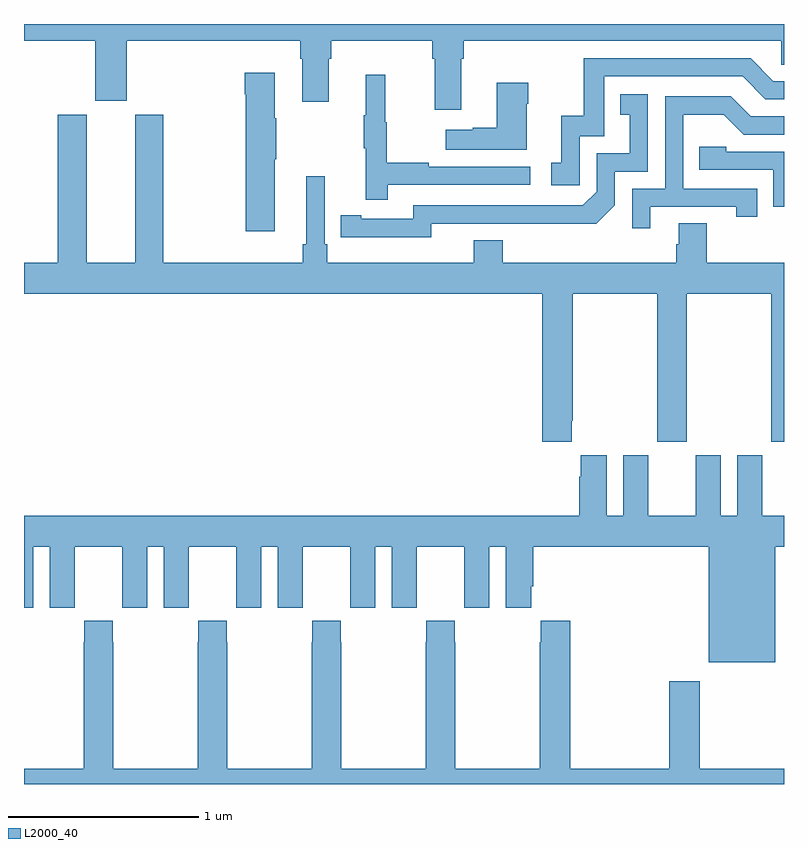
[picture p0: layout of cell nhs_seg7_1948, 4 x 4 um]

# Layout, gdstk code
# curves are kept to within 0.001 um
import gdstk
lib = gdstk.Library(unit=1e-6, precision=1e-09)
def P(c, l, *ps):  # polygons
    for p in ps: c.add(gdstk.Polygon(p, *l))
L2000_40 = (2000, 40)

nhs_seg7_1948 = lib.new_cell('nhs_seg7_1948')
P(nhs_seg7_1948, L2000_40, [(241,1037.912),(241.376,1037.912),(241.376,1037.595),(241.54,1037.595),(241.54,1037.912),(242.453,1037.912),(242.453,1037.816),(242.465,1037.816),(242.465,1037.592),(242.605,1037.592),(242.605,1037.816),(242.618,1037.816),(242.618,1037.912),(243.149,1037.912),(243.149,1037.816),(243.161,1037.816),(243.161,1037.55),(243.301,1037.55),(243.301,1037.816),(243.314,1037.816),(243.314,1037.912),(244.986,1037.912),(244.986,1037.785),(245,1037.785),(245,1038),(241,1038)],
  [(243.924,1037.409),(244.053,1037.409),(244.053,1037.724),(244.782,1037.724),(244.902,1037.604),(245,1037.604),(245,1037.7),(244.944,1037.7),(244.824,1037.82),(243.945,1037.82),(243.945,1037.518),(243.827,1037.518),(243.827,1037.271),(243.774,1037.271),(243.774,1037.151),(243.924,1037.151)],
  [(242.32,1037.287),(242.328,1037.287),(242.328,1037.504),(242.32,1037.504),(242.32,1037.743),(242.162,1037.743),(242.162,1037.63),(242.167,1037.63),(242.167,1036.908),(242.32,1036.908)],
  [(242.915,1037.154),(243.664,1037.154),(243.664,1037.25),(243.131,1037.25),(243.131,1037.27),(242.908,1037.27),(242.908,1037.484),(242.9,1037.484),(242.9,1037.734),(242.798,1037.734),(242.798,1037.521),(242.787,1037.521),(242.787,1037.347),(242.798,1037.347),(242.798,1037.076),(242.915,1037.076)],
  [(243.646,1037.579),(243.654,1037.579),(243.654,1037.692),(243.488,1037.692),(243.488,1037.453),(243.362,1037.453),(243.362,1037.443),(243.219,1037.443),(243.219,1037.339),(243.646,1037.339)],
  [(243.144,1036.95),(244.012,1036.949),(244.11,1037.046),(244.11,1037.223),(244.284,1037.223),(244.284,1037.629),(244.138,1037.629),(244.138,1037.523),(244.187,1037.523),(244.187,1037.319),(244.014,1037.319),(244.014,1037.118),(243.942,1037.046),(243.048,1037.046),(243.048,1036.974),(242.776,1036.974),(242.776,1036.994),(242.668,1036.994),(242.668,1036.878),(243.144,1036.877)],
  [(244.297,1037.037),(244.748,1037.037),(244.748,1036.986),(244.859,1036.986),(244.859,1037.133),(244.47,1037.133),(244.47,1037.522),(244.684,1037.522),(244.788,1037.418),(245,1037.418),(245,1037.514),(244.825,1037.514),(244.72,1037.619),(244.374,1037.619),(244.374,1037.133),(244.2,1037.133),(244.2,1036.926),(244.297,1036.926)],
  [(243.883,1035.913),(243.888,1035.913),(243.888,1036.58),(244.333,1036.58),(244.333,1035.801),(244.488,1035.801),(244.488,1036.58),(244.933,1036.58),(244.933,1035.801),(245,1035.801),(245,1036.744),(244.593,1036.744),(244.593,1036.952),(244.445,1036.952),(244.445,1036.842),(244.433,1036.842),(244.433,1036.744),(243.521,1036.744),(243.521,1036.861),(243.368,1036.861),(243.368,1036.744),(242.597,1036.744),(242.597,1036.84),(242.583,1036.84),(242.583,1037.2),(242.486,1037.2),(242.486,1036.84),(242.467,1036.84),(242.467,1036.744),(241.734,1036.744),(241.734,1037.523),(241.586,1037.523),(241.586,1036.744),(241.33,1036.744),(241.33,1037.523),(241.178,1037.523),(241.178,1036.744),(241,1036.744),(241,1036.58),(243.728,1036.58),(243.728,1035.801),(243.883,1035.801)],
  [(245,1037.328),(244.695,1037.328),(244.695,1037.355),(244.555,1037.355),(244.555,1037.232),(244.944,1037.232),(244.944,1037.037),(245,1037.037)],
  [(244.954,1035.248),(245,1035.248),(245,1035.412),(244.885,1035.412),(244.885,1035.73),(244.754,1035.73),(244.754,1035.412),(244.666,1035.412),(244.666,1035.73),(244.535,1035.73),(244.535,1035.412),(244.285,1035.412),(244.285,1035.73),(244.154,1035.73),(244.154,1035.412),(244.066,1035.412),(244.066,1035.73),(243.929,1035.73),(243.929,1035.617),(243.923,1035.617),(243.923,1035.412),(241,1035.412),(241,1034.928),(241.048,1034.928),(241.048,1035.248),(241.136,1035.248),(241.136,1034.928),(241.266,1034.928),(241.266,1035.04),(241.267,1035.04),(241.267,1035.248),(241.517,1035.248),(241.517,1035.04),(241.518,1035.04),(241.518,1034.928),(241.648,1034.928),(241.648,1035.248),(241.736,1035.248),(241.736,1034.928),(241.866,1034.928),(241.866,1035.04),(241.867,1035.04),(241.867,1035.248),(242.117,1035.248),(242.117,1035.04),(242.118,1035.04),(242.118,1034.928),(242.248,1034.928),(242.248,1035.248),(242.336,1035.248),(242.336,1034.928),(242.466,1034.928),(242.466,1035.04),(242.467,1035.04),(242.467,1035.248),(242.717,1035.248),(242.717,1035.04),(242.718,1035.04),(242.718,1034.928),(242.848,1034.928),(242.848,1035.248),(242.936,1035.248),(242.936,1034.928),(243.066,1034.928),(243.066,1035.04),(243.067,1035.04),(243.067,1035.248),(243.317,1035.248),(243.317,1035.04),(243.318,1035.04),(243.318,1034.928),(243.448,1034.928),(243.448,1035.248),(243.536,1035.248),(243.536,1034.928),(243.67,1034.928),(243.67,1035.04),(243.68,1035.04),(243.68,1035.248),(244.604,1035.248),(244.604,1034.642),(244.954,1034.642)],
  [(245,1034.08),(244.557,1034.08),(244.557,1034.542),(244.397,1034.542),(244.397,1034.08),(243.875,1034.08),(243.875,1034.86),(243.721,1034.86),(243.721,1034.747),(243.715,1034.747),(243.715,1034.08),(243.27,1034.08),(243.27,1034.747),(243.267,1034.747),(243.267,1034.86),(243.117,1034.86),(243.117,1034.747),(243.115,1034.747),(243.115,1034.08),(242.67,1034.08),(242.67,1034.747),(242.667,1034.747),(242.667,1034.86),(242.517,1034.86),(242.517,1034.747),(242.515,1034.747),(242.515,1034.08),(242.07,1034.08),(242.07,1034.747),(242.067,1034.747),(242.067,1034.86),(241.917,1034.86),(241.917,1034.747),(241.915,1034.747),(241.915,1034.08),(241.47,1034.08),(241.47,1034.747),(241.467,1034.747),(241.467,1034.86),(241.317,1034.86),(241.317,1034.747),(241.315,1034.747),(241.315,1034.08),(241,1034.08),(241,1034),(245,1034)])

lib.write_gds('nhs_seg7_1948.gds')
